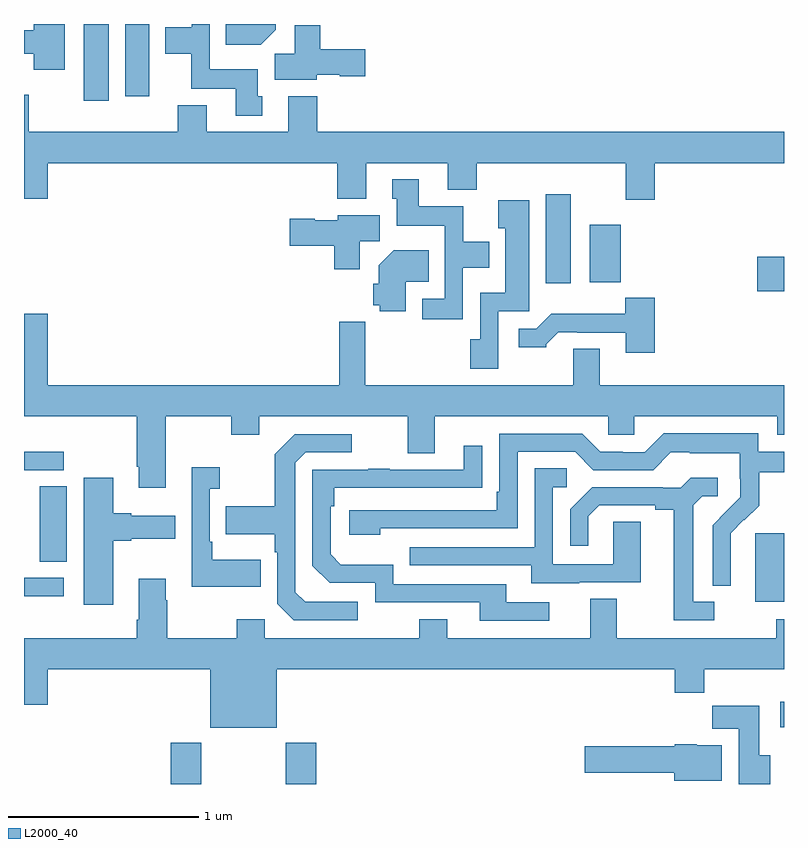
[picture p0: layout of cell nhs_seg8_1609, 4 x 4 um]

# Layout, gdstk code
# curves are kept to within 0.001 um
import gdstk
lib = gdstk.Library(unit=1e-6, precision=1e-09)
def R(c, l, rs):  # rectangles x0, y0, x1, y1
    for r in rs: c.add(gdstk.rectangle(r[:2], r[2:], *l))
def P(c, l, *ps):  # polygons
    for p in ps: c.add(gdstk.Polygon(p, *l))
L2000_40 = (2000, 40)

nhs_seg8_1609 = lib.new_cell('nhs_seg8_1609')
R(nhs_seg8_1609, L2000_40, [(213.773,1111.9,213.933,1112.116), (214.378,1111.9,214.538,1112.116), (216.981,1112.198,217,1112.332), (216.848,1112.858,217,1113.219), (213,1112.887,213.208,1112.985), (213.083,1113.07,213.226,1113.467), (213,1113.552,213.208,1113.648), (216.858,1114.493,217,1114.676), (215.747,1114.536,215.878,1115.005), (213.314,1115.496,213.445,1115.9), (213.533,1115.52,213.658,1115.9)])
P(nhs_seg8_1609, L2000_40, [(214.324,1115.87),(214.324,1115.9),(214.063,1115.9),(214.063,1115.792),(214.246,1115.792)],
  [(214.255,1115.52),(214.231,1115.52),(214.231,1115.662),(213.978,1115.662),(213.978,1115.9),(213.882,1115.9),(213.882,1115.884),(213.743,1115.884),(213.743,1115.744),(213.88,1115.744),(213.88,1115.558),(214.115,1115.558),(214.115,1115.418),(214.255,1115.418)],
  [(213.214,1115.9),(213.052,1115.9),(213.052,1115.866),(213,1115.866),(213,1115.744),(213.05,1115.744),(213.05,1115.658),(213.214,1115.658)],
  [(214.542,1115.633),(214.662,1115.633),(214.662,1115.626),(214.795,1115.626),(214.795,1115.768),(214.559,1115.768),(214.559,1115.893),(214.424,1115.893),(214.424,1115.744),(214.319,1115.744),(214.319,1115.606),(214.542,1115.606)],
  [(216.32,1115.168),(217,1115.168),(217,1115.332),(214.544,1115.332),(214.544,1115.521),(214.391,1115.521),(214.391,1115.332),(213.961,1115.332),(213.961,1115.473),(213.809,1115.473),(213.809,1115.332),(213.025,1115.332),(213.025,1115.527),(213,1115.527),(213,1114.98),(213.124,1114.98),(213.124,1115.168),(214.649,1115.168),(214.649,1114.979),(214.801,1114.979),(214.801,1115.168),(215.231,1115.168),(215.231,1115.027),(215.384,1115.027),(215.384,1115.168),(216.167,1115.168),(216.167,1114.974),(216.32,1114.974)],
  [(215.31,1114.616),(215.449,1114.616),(215.449,1114.755),(215.312,1114.755),(215.312,1114.942),(215.077,1114.942),(215.077,1115.083),(214.937,1115.083),(214.937,1114.98),(214.961,1114.98),(214.961,1114.838),(215.214,1114.838),(215.214,1114.455),(215.097,1114.455),(215.097,1114.347),(215.31,1114.347)],
  [(215.496,1114.389),(215.659,1114.389),(215.659,1114.972),(215.495,1114.972),(215.495,1114.826),(215.534,1114.826),(215.534,1114.486),(215.4,1114.486),(215.4,1114.242),(215.348,1114.242),(215.348,1114.086),(215.496,1114.086)],
  [(214.768,1114.756),(214.873,1114.756),(214.873,1114.894),(214.65,1114.894),(214.65,1114.867),(214.53,1114.867),(214.53,1114.875),(214.398,1114.875),(214.398,1114.733),(214.634,1114.733),(214.634,1114.608),(214.768,1114.608)],
  [(216.14,1114.689),(216.142,1114.689),(216.142,1114.843),(215.978,1114.843),(215.978,1114.541),(216.14,1114.541)],
  [(215.008,1114.544),(215.129,1114.544),(215.129,1114.708),(214.946,1114.708),(214.868,1114.63),(214.868,1114.533),(214.838,1114.533),(214.838,1114.419),(214.872,1114.419),(214.872,1114.387),(215.008,1114.387)],
  [(216.32,1114.459),(216.165,1114.459),(216.165,1114.375),(215.776,1114.375),(215.697,1114.296),(215.604,1114.296),(215.604,1114.199),(215.748,1114.199),(215.748,1114.214),(215.812,1114.278),(215.911,1114.278),(215.911,1114.275),(216.167,1114.275),(216.167,1114.17),(216.32,1114.17)],
  [(213.745,1113.836),(214.09,1113.836),(214.09,1113.737),(214.237,1113.737),(214.237,1113.836),(215.021,1113.836),(215.021,1113.642),(215.161,1113.642),(215.161,1113.836),(216.075,1113.836),(216.075,1113.738),(216.213,1113.738),(216.213,1113.836),(216.965,1113.836),(216.965,1113.737),(217,1113.737),(217,1114),(216.031,1114),(216.031,1114.19),(215.891,1114.19),(215.891,1114),(214.796,1114),(214.796,1114.333),(214.66,1114.333),(214.66,1114),(213.124,1114),(213.124,1114.375),(213,1114.375),(213,1113.836),(213.593,1113.836),(213.593,1113.571),(213.605,1113.571),(213.605,1113.459),(213.745,1113.459)],
  [(216.72,1113.098),(216.719,1113.221),(216.789,1113.291),(216.792,1113.288),(216.869,1113.365),(216.869,1113.54),(217,1113.54),(217,1113.648),(216.864,1113.648),(216.864,1113.745),(216.367,1113.745),(216.267,1113.645),(216.152,1113.645),(216.152,1113.648),(216.033,1113.648),(215.937,1113.744),(215.502,1113.744),(215.502,1113.439),(215.489,1113.439),(215.489,1113.342),(214.713,1113.342),(214.713,1113.212),(214.874,1113.212),(214.874,1113.246),(215.598,1113.246),(215.598,1113.648),(215.901,1113.648),(215.997,1113.552),(216.312,1113.552),(216.405,1113.645),(216.505,1113.645),(216.505,1113.641),(216.768,1113.641),(216.768,1113.507),(216.77,1113.507),(216.77,1113.41),(216.624,1113.262),(216.624,1112.944),(216.72,1112.944)],
  [(214.756,1112.859),(214.479,1112.859),(214.428,1112.91),(214.428,1113.591),(214.482,1113.645),(214.726,1113.645),(214.726,1113.741),(214.425,1113.741),(214.32,1113.635),(214.32,1113.363),(214.063,1113.363),(214.063,1113.215),(214.32,1113.215),(214.32,1113.119),(214.332,1113.119),(214.332,1112.85),(214.419,1112.763),(214.756,1112.763)],
  [(215.764,1112.856),(215.539,1112.856),(215.539,1112.952),(214.944,1112.952),(214.944,1113.055),(214.667,1113.055),(214.614,1113.108),(214.614,1113.362),(214.634,1113.362),(214.634,1113.459),(215.411,1113.46),(215.411,1113.679),(215.315,1113.679),(215.315,1113.555),(214.925,1113.555),(214.925,1113.56),(214.813,1113.56),(214.813,1113.555),(214.518,1113.555),(214.518,1113.048),(214.608,1112.958),(214.848,1112.958),(214.848,1112.856),(215.399,1112.856),(215.399,1112.76),(215.764,1112.76)],
  [(214.247,1113.079),(213.991,1113.079),(213.991,1113.175),(213.978,1113.175),(213.978,1113.455),(214.03,1113.455),(214.03,1113.568),(213.882,1113.568),(213.882,1112.939),(214.247,1112.939)],
  [(215.923,1112.961),(216.247,1112.961),(216.247,1113.281),(216.102,1113.281),(216.102,1113.057),(215.784,1113.057),(215.784,1113.462),(215.857,1113.462),(215.857,1113.563),(215.688,1113.563),(215.688,1113.147),(215.029,1113.147),(215.029,1113.051),(215.669,1113.051),(215.669,1112.957),(215.923,1112.957)],
  [(213.469,1113.179),(213.565,1113.179),(213.565,1113.191),(213.796,1113.191),(213.796,1113.313),(213.565,1113.313),(213.565,1113.326),(213.469,1113.326),(213.469,1113.511),(213.314,1113.511),(213.314,1112.844),(213.469,1112.844)],
  [(216.634,1112.859),(216.523,1112.859),(216.523,1113.367),(216.57,1113.414),(216.652,1113.414),(216.652,1113.511),(216.508,1113.511),(216.456,1113.459),(216.362,1113.459),(216.362,1113.462),(215.99,1113.462),(215.874,1113.346),(215.874,1113.153),(215.971,1113.153),(215.971,1113.309),(216.028,1113.366),(216.323,1113.366),(216.323,1113.344),(216.419,1113.344),(216.419,1112.763),(216.634,1112.763)],
  [(214.33,1112.504),(216.425,1112.504),(216.425,1112.38),(216.581,1112.38),(216.581,1112.504),(217,1112.504),(217,1112.767),(216.958,1112.767),(216.958,1112.668),(216.121,1112.668),(216.121,1112.876),(215.981,1112.876),(215.981,1112.668),(215.227,1112.668),(215.227,1112.767),(215.08,1112.767),(215.08,1112.668),(214.266,1112.668),(214.266,1112.767),(214.12,1112.767),(214.12,1112.668),(213.753,1112.668),(213.753,1112.867),(213.745,1112.867),(213.745,1112.98),(213.605,1112.98),(213.605,1112.764),(213.593,1112.764),(213.593,1112.668),(213,1112.668),(213,1112.316),(213.124,1112.316),(213.124,1112.504),(213.98,1112.504),(213.98,1112.195),(214.33,1112.195)],
  [(216.928,1112.052),(216.871,1112.052),(216.871,1112.311),(216.622,1112.311),(216.622,1112.192),(216.761,1112.192),(216.761,1111.9),(216.928,1111.9)],
  [(216.673,1112.104),(216.54,1112.104),(216.54,1112.11),(216.426,1112.11),(216.426,1112.1),(215.952,1112.1),(215.952,1111.958),(216.422,1111.958),(216.422,1111.916),(216.673,1111.916)])

lib.write_gds('nhs_seg8_1609.gds')
